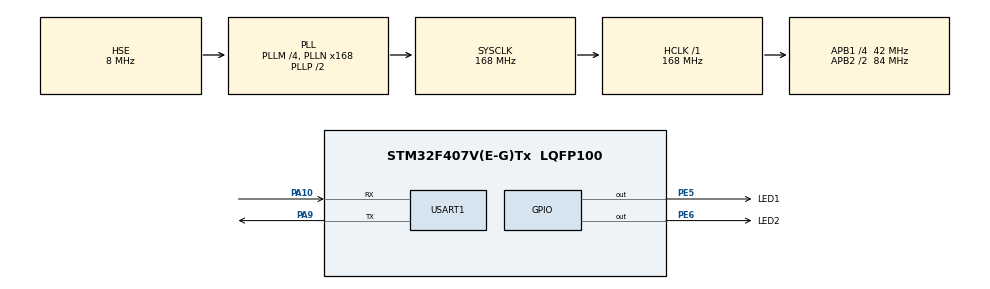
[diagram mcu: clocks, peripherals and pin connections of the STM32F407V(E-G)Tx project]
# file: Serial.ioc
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Dma.Request0=USART1_RX
Dma.Request1=USART1_TX
Dma.USART1_RX.0.Direction=DMA_PERIPH_TO_MEMORY
Dma.USART1_RX.0.FIFOMode=DMA_FIFOMODE_DISABLE
Dma.USART1_RX.0.Instance=DMA2_Stream2
Dma.USART1_RX.0.MemDataAlignment=DMA_MDATAALIGN_BYTE
Dma.USART1_RX.0.MemInc=DMA_MINC_ENABLE
Dma.USART1_RX.0.Mode=DMA_NORMAL
Dma.USART1_RX.0.PeriphDataAlignment=DMA_PDATAALIGN_BYTE
Dma.USART1_RX.0.PeriphInc=DMA_PINC_DISABLE
Dma.USART1_RX.0.Priority=DMA_PRIORITY_LOW
Dma.USART1_TX.1.Direction=DMA_MEMORY_TO_PERIPH
Dma.USART1_TX.1.FIFOMode=DMA_FIFOMODE_DISABLE
Dma.USART1_TX.1.Instance=DMA2_Stream7
Dma.USART1_TX.1.MemDataAlignment=DMA_MDATAALIGN_BYTE
Dma.USART1_TX.1.MemInc=DMA_MINC_ENABLE
Dma.USART1_TX.1.Mode=DMA_NORMAL
Dma.USART1_TX.1.PeriphDataAlignment=DMA_PDATAALIGN_BYTE
Dma.USART1_TX.1.PeriphInc=DMA_PINC_DISABLE
Dma.USART1_TX.1.Priority=DMA_PRIORITY_LOW
Mcu.Family=STM32F4
Mcu.Name=STM32F407V(E-G)Tx
Mcu.Package=LQFP100
NVIC.DMA2_Stream2_IRQn=true\:0\:0\:false\:false\:true\:false\:true\:true
NVIC.DMA2_Stream7_IRQn=true\:0\:0\:false\:false\:true\:false\:true\:true
NVIC.PriorityGroup=NVIC_PRIORITYGROUP_4
NVIC.USART1_IRQn=true\:0\:0\:false\:false\:true\:true\:true\:true
PA10.Mode=Asynchronous
PA10.Signal=USART1_RX
PA13.Mode=Serial_Wire
PA13.Signal=SYS_JTMS-SWDIO
PA14.Mode=Serial_Wire
PA14.Signal=SYS_JTCK-SWCLK
PA9.Mode=Asynchronous
PA9.Signal=USART1_TX
PE5.GPIO_Label=LED1
PE5.PinState=GPIO_PIN_SET
PE5.Signal=GPIO_Output
PE6.GPIO_Label=LED2
PE6.PinState=GPIO_PIN_SET
PE6.Signal=GPIO_Output
PH0-OSC_IN.Mode=HSE-External-Oscillator
PH0-OSC_IN.Signal=RCC_OSC_IN
PH1-OSC_OUT.Mode=HSE-External-Oscillator
PH1-OSC_OUT.Signal=RCC_OSC_OUT
ProjectManager.HeapSize=0x200
ProjectManager.StackSize=0x400
ProjectManager.TargetToolchain=CMake
RCC.48MHZClocksFreq_Value=84000000
RCC.AHBFreq_Value=168000000
RCC.APB1CLKDivider=RCC_HCLK_DIV4
RCC.APB1Freq_Value=42000000
RCC.APB1TimFreq_Value=84000000
RCC.APB2CLKDivider=RCC_HCLK_DIV2
RCC.APB2Freq_Value=84000000
RCC.APB2TimFreq_Value=168000000
RCC.CortexFreq_Value=168000000
RCC.HCLKFreq_Value=168000000
RCC.HSE_VALUE=8000000
RCC.HSI_VALUE=16000000
RCC.LSE_VALUE=32768
RCC.PLLM=4
RCC.PLLN=168
RCC.PLLSourceVirtual=RCC_PLLSOURCE_HSE
RCC.SYSCLKFreq_VALUE=168000000
RCC.SYSCLKSource=RCC_SYSCLKSOURCE_PLLCLK
RCC.VCOOutputFreq_Value=336000000
USART1.VirtualMode=VM_ASYNC
board=custom

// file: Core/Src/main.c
/* USER CODE BEGIN Header */
/**
  ******************************************************************************
  * @file           : main.c
  * @brief          : Main program body
  ******************************************************************************
  * @attention
  *
  * Copyright (c) 2026 STMicroelectronics.
  * All rights reserved.
  *
  * This software is licensed under terms that can be found in the LICENSE file
  * in the root directory of this software component.
  * If no LICENSE file comes with this software, it is provided AS-IS.
  *
  ******************************************************************************
  */
/* USER CODE END Header */
#include "main.h"
#include "dma.h"
#include "usart.h"
#include "gpio.h"

/* USER CODE BEGIN PV */
 #define UART_RX_BUFFER_SIZE 64U
static uint8_t uart_rx_buffer[UART_RX_BUFFER_SIZE];
static uint8_t uart_pending_command;

#define UART_TX_QUEUE_SIZE 64U
static uint8_t uart_tx_queue[UART_TX_QUEUE_SIZE];
static volatile uint8_t uart_tx_head;
static volatile uint8_t uart_tx_tail;
static uint8_t uart_tx_busy;
static uint8_t uart_tx_dma_length;

/* USER CODE END PV */

void SystemClock_Config(void);

/* USER CODE BEGIN 0 */
static void UART_StartNextTransmit(void)
{
  if (uart_tx_busy || uart_tx_tail == uart_tx_head)
  {
    return;
  }

  if (uart_tx_head > uart_tx_tail)
  {
    uart_tx_dma_length = (uint8_t)(uart_tx_head - uart_tx_tail);
  }
  else
  {
    uart_tx_dma_length = (uint8_t)(UART_TX_QUEUE_SIZE - uart_tx_tail);
  }

  uart_tx_busy = 1U;

  if (HAL_UART_Transmit_DMA(&huart1, &uart_tx_queue[uart_tx_tail],
                            uart_tx_dma_length) != HAL_OK)
  {
    uart_tx_busy = 0U;
  }
}

static void UART_QueueResponse(uint8_t command, uint8_t value)
{
  uint8_t free_space = (uint8_t)((uart_tx_tail + UART_TX_QUEUE_SIZE -
                                  uart_tx_head - 1U) % UART_TX_QUEUE_SIZE);
  if (free_space < 4U)
  {
    return;
  }

  uart_tx_queue[uart_tx_head] = command;
  uart_tx_queue[(uart_tx_head + 1U) % UART_TX_QUEUE_SIZE] = value;
  uart_tx_queue[(uart_tx_head + 2U) % UART_TX_QUEUE_SIZE] = '\r';
  uart_tx_queue[(uart_tx_head + 3U) % UART_TX_QUEUE_SIZE] = '\n';
  uart_tx_head = (uint8_t)((uart_tx_head + 4U) % UART_TX_QUEUE_SIZE);
  UART_StartNextTransmit();
}

static void UART_ProcessReceivedByte(uint8_t received)
{
  if (received == 'R' || received == 'G')
  {
    uart_pending_command = received;
  }
  else if ((received == '1' || received == '0') &&
           (uart_pending_command == 'R' || uart_pending_command == 'G'))
  {
    uint16_t led_pin = (uart_pending_command == 'R') ? LED1_Pin : LED2_Pin;
    GPIO_PinState led_state = (received == '1') ? GPIO_PIN_RESET : GPIO_PIN_SET;

    HAL_GPIO_WritePin(GPIOE, led_pin, led_state);
    UART_QueueResponse(uart_pending_command, received);
    uart_pending_command = 0U;
  }
  else if (received != '\r' && received != '\n')
  {
    uart_pending_command = 0U;
  }
}

void HAL_UARTEx_RxEventCallback(UART_HandleTypeDef *huart, uint16_t size)
{
  if (huart->Instance == USART1)
  {
    for (uint16_t index = 0U; index < size; index++)
    {
      UART_ProcessReceivedByte(uart_rx_buffer[index]);
    }

    if (HAL_UARTEx_ReceiveToIdle_DMA(&huart1, uart_rx_buffer,
                                     UART_RX_BUFFER_SIZE) == HAL_OK)
    {
      __HAL_DMA_DISABLE_IT(huart1.hdmarx, DMA_IT_HT);
    }
  }
}

void HAL_UART_TxCpltCallback(UART_HandleTypeDef *huart)
{
  if (huart->Instance == USART1)
  {
    uart_tx_tail = (uint8_t)((uart_tx_tail + uart_tx_dma_length) % UART_TX_QUEUE_SIZE);
    uart_tx_busy = 0U;
    UART_StartNextTransmit();
  }
}

/* USER CODE END 0 */

int main(void)
{

  /* MCU Configuration--------------------------------------------------------*/

  /* Reset of all peripherals, Initializes the Flash interface and the Systick. */
  HAL_Init();

  /* Configure the system clock */
  SystemClock_Config();

  /* Initialize all configured peripherals */
  MX_GPIO_Init();
  MX_DMA_Init();
  MX_USART1_UART_Init();
  /* USER CODE BEGIN 2 */
  //char message[] = "Hello World";
  if (HAL_UARTEx_ReceiveToIdle_DMA(&huart1, uart_rx_buffer,
                                  UART_RX_BUFFER_SIZE) != HAL_OK)
  {
    Error_Handler();
  }
  __HAL_DMA_DISABLE_IT(huart1.hdmarx, DMA_IT_HT);

  /* USER CODE END 2 */

  /* Infinite loop */
  while (1)
  {

    /* USER CODE BEGIN 3 */
    //HAL_UART_Transmit(&huart1,(uint8_t*)message,strlen(message),100);
    //HAL_Delay(1000);

  }
  /* USER CODE END 3 */
}

void SystemClock_Config(void)
{
  RCC_OscInitTypeDef RCC_OscInitStruct = {0};
  RCC_ClkInitTypeDef RCC_ClkInitStruct = {0};

  /** Configure the main internal regulator output voltage
  */
  __HAL_RCC_PWR_CLK_ENABLE();
  __HAL_PWR_VOLTAGESCALING_CONFIG(PWR_REGULATOR_VOLTAGE_SCALE1);

  /** Initializes the RCC Oscillators according to the specified parameters
  * in the RCC_OscInitTypeDef structure.
  */
  RCC_OscInitStruct.OscillatorType = RCC_OSCILLATORTYPE_HSE;
  RCC_OscInitStruct.HSEState = RCC_HSE_ON;
  RCC_OscInitStruct.PLL.PLLState = RCC_PLL_ON;
  RCC_OscInitStruct.PLL.PLLSource = RCC_PLLSOURCE_HSE;
  RCC_OscInitStruct.PLL.PLLM = 4;
  RCC_OscInitStruct.PLL.PLLN = 168;
  RCC_OscInitStruct.PLL.PLLP = RCC_PLLP_DIV2;
  RCC_OscInitStruct.PLL.PLLQ = 4;
  if (HAL_RCC_OscConfig(&RCC_OscInitStruct) != HAL_OK)
  {
    Error_Handler();
  }

  /** Initializes the CPU, AHB and APB buses clocks
  */
  RCC_ClkInitStruct.ClockType = RCC_CLOCKTYPE_HCLK|RCC_CLOCKTYPE_SYSCLK
                              |RCC_CLOCKTYPE_PCLK1|RCC_CLOCKTYPE_PCLK2;
  RCC_ClkInitStruct.SYSCLKSource = RCC_SYSCLKSOURCE_PLLCLK;
  RCC_ClkInitStruct.AHBCLKDivider = RCC_SYSCLK_DIV1;
  RCC_ClkInitStruct.APB1CLKDivider = RCC_HCLK_DIV4;
  RCC_ClkInitStruct.APB2CLKDivider = RCC_HCLK_DIV2;

  if (HAL_RCC_ClockConfig(&RCC_ClkInitStruct, FLASH_LATENCY_5) != HAL_OK)
  {
    Error_Handler();
  }
}

void Error_Handler(void)
{
  __disable_irq();
  while (1)
  {
  }
}
